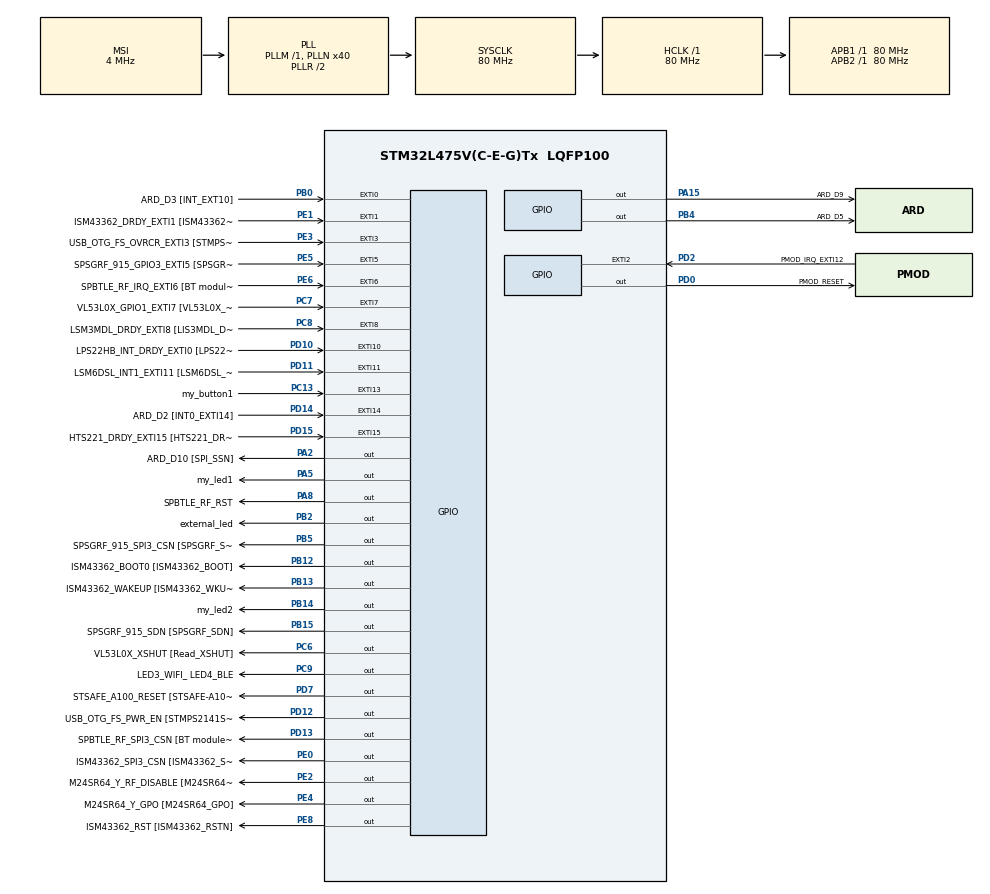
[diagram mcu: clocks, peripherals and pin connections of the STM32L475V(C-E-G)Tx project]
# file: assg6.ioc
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Mcu.Family=STM32L4
Mcu.Name=STM32L475V(C-E-G)Tx
Mcu.Package=LQFP100
NVIC.EXTI15_10_IRQn=true\:0\:0\:false\:false\:true\:true\:true
NVIC.EXTI9_5_IRQn=true\:0\:0\:false\:false\:true\:true\:true
NVIC.PriorityGroup=NVIC_PRIORITYGROUP_4
NVIC.TIM2_IRQn=true\:0\:0\:false\:false\:true\:true\:true
NVIC.TIM3_IRQn=true\:0\:0\:false\:false\:true\:true\:true
PA0.GPIO_Label=ARD_D1 [UART4_TX]
PA0.Signal=UART4_TX
PA1.GPIO_Label=ARD_D0 [UART4_RX]
PA1.Signal=UART4_RX
PA10.GPIO_Label=USB_OTG_FS_ID
PA10.Signal=USB_OTG_FS_ID
PA11.GPIO_Label=USB_OTG_FS_DM
PA11.Signal=USB_OTG_FS_DM
PA12.GPIO_Label=USB_OTG_FS_DP
PA12.Signal=USB_OTG_FS_DP
PA13\ (JTMS-SWDIO).GPIO_Label=SYS_JTMS_SWDIO
PA13\ (JTMS-SWDIO).Signal=SYS_JTMS-SWDIO
PA14\ (JTCK-SWCLK).GPIO_Label=SYS_JTCK_SWCLK
PA14\ (JTCK-SWCLK).Signal=SYS_JTCK-SWCLK
PA15\ (JTDI).GPIO_Label=ARD_D9
PA15\ (JTDI).Signal=GPIO_Output
PA2.GPIO_Label=ARD_D10 [SPI_SSN]
PA2.Signal=GPIO_Output
PA3.GPIO_Label=ARD_D4
PA3.Signal=S_TIM2_CH4
PA4.GPIO_Label=ARD_D7
PA4.Signal=ADCx_IN9
PA5.GPIO_Label=my_led1
PA5.Signal=GPIO_Output
PA6.GPIO_Label=ARD_D12 [SPI1_MISO]
PA6.Signal=SPI1_MISO
PA7.GPIO_Label=ARD_D11 [SPI1_MOSI]
PA7.Signal=SPI1_MOSI
PA8.GPIO_Label=SPBTLE_RF_RST
PA8.Signal=GPIO_Output
PA9.GPIO_Label=USB_OTG_FS_VBUS [STMPS2141STR_OUT]
PA9.Signal=USB_OTG_FS_VBUS
PB0.GPIO_Label=ARD_D3 [INT_EXT10]
PB0.Signal=GPXTI0
PB1.GPIO_Label=ARD_D6 [ADC1_IN6]
PB1.Signal=ADCx_IN16
PB10.GPIO_Label=INTERNAL_I2C2_SCL [VL53L0X_SCL]
PB10.Signal=I2C2_SCL
PB11.GPIO_Label=INTERNAL_I2C2_SDA [VL53L0X_SDA]
PB11.Signal=I2C2_SDA
PB12.GPIO_Label=ISM43362_BOOT0 [ISM43362_BOOT]
PB12.Signal=GPIO_Output
PB13.GPIO_Label=ISM43362_WAKEUP [ISM43362_WKUP]
PB13.Signal=GPIO_Output
PB14.GPIO_Label=my_led2
PB14.Signal=GPIO_Output
PB15.GPIO_Label=SPSGRF_915_SDN [SPSGRF_SDN]
PB15.Signal=GPIO_Output
PB2.GPIO_Label=external_led
PB2.Signal=GPIO_Output
PB3\ (JTDO-TRACESWO).GPIO_Label=SYS_JTD0_SWO
PB3\ (JTDO-TRACESWO).Signal=SYS_JTDO-SWO
PB4\ (NJTRST).GPIO_Label=ARD_D5
PB4\ (NJTRST).Signal=GPIO_Output
PB5.GPIO_Label=SPSGRF_915_SPI3_CSN [SPSGRF_SPI_CS]
PB5.PinState=GPIO_PIN_SET
PB5.Signal=GPIO_Output
PB6.GPIO_Label=ST_LINK_UART1_TX
PB6.Signal=USART1_TX
PB7.GPIO_Label=ST_LINK_UART1_RX
PB7.Signal=USART1_RX
PB8.GPIO_Label=ARD_D15 [I2C1_SCL]
PB8.Signal=I2C1_SCL
PB9.GPIO_Label=ARD_D14 [I2C1_SDA]
PB9.Signal=I2C1_SDA
PC0.GPIO_Label=ARD_A5 [ADC]
PC0.Signal=ADCx_IN1
PC1.GPIO_Label=ARD_A4 [ADC]
PC1.Signal=ADCx_IN2
PC10.GPIO_Label=INTERNAL_SPI3_SCK [BT module_SPI_SCLK] [ISM43362_SCK]
PC10.Signal=SPI3_SCK
PC11.GPIO_Label=INTERNAL_SPI3_MISO [BT module_SPI_MISO] [ISM43362_MISO]
PC11.Signal=SPI3_MISO
PC12.GPIO_Label=INTERNAL_SPI3_MOSI [BT module_SPI_MOSI] [ISM43362_MOSI]
PC12.Signal=SPI3_MOSI
PC13.GPIO_Label=my_button1
PC13.GPIO_ModeDefaultEXTI=GPIO_MODE_IT_FALLING
PC13.Signal=GPXTI13
PC14-OSC32_IN\ (PC14).Signal=RCC_OSC32_IN
PC15-OSC32_OUT\ (PC15).Signal=RCC_OSC32_OUT
PC2.GPIO_Label=ARD_A3 [ADC]
PC2.Signal=ADCx_IN3
PC3.GPIO_Label=ARD_A2 [ADC]
PC3.Signal=ADCx_IN4
PC4.GPIO_Label=ARD_A1 [ADC]
PC4.Signal=ADCx_IN13
PC5.GPIO_Label=ARD_A0 [ADC]
PC5.Signal=ADCx_IN14
PC6.GPIO_Label=VL53L0X_XSHUT [Read_XSHUT]
PC6.Signal=GPIO_Output
PC7.GPIO_Label=VL53L0X_GPIO1_EXTI7 [VL53L0X_GPIO1]
PC7.Signal=GPXTI7
PC8.GPIO_Label=LSM3MDL_DRDY_EXTI8 [LIS3MDL_DRDY]
PC8.Signal=GPXTI8
PC9.GPIO_Label=LED3_WIFI_ LED4_BLE
PC9.Signal=GPIO_Output
PD0.GPIO_Label=PMOD_RESET
PD0.Signal=GPIO_Output
PD1.GPIO_Label=PMOD_SPI2_SCK
PD1.Signal=SPI2_SCK
PD10.GPIO_Label=LPS22HB_INT_DRDY_EXTI0 [LPS22HB_INT_DRDY] 
PD10.Signal=GPXTI10
PD11.GPIO_Label=LSM6DSL_INT1_EXTI11 [LSM6DSL_INT1]
PD11.Signal=GPXTI11
PD12.GPIO_Label=USB_OTG_FS_PWR_EN [STMPS2141STR_EN]
PD12.Signal=GPIO_Output
PD13.GPIO_Label=SPBTLE_RF_SPI3_CSN [BT module_SPI_CS]
PD13.PinState=GPIO_PIN_SET
PD13.Signal=GPIO_Output
PD14.GPIO_Label=ARD_D2 [INT0_EXTI14]
PD14.Signal=GPXTI14
PD15.GPIO_Label=HTS221_DRDY_EXTI15 [HTS221_DRDY]
PD15.Signal=GPXTI15
PD2.GPIO_Label=PMOD_IRQ_EXTI12
PD2.Signal=GPXTI2
PD3.GPIO_Label=PMOD_UART2_CTS
PD3.Signal=USART2_CTS
PD4.GPIO_Label=PMOD_UART2_RTS
PD4.Signal=USART2_RTS
PD5.GPIO_Label=PMOD_UART2_TX
PD5.Signal=USART2_TX
PD6.GPIO_Label=PMOD_UART2_RX
PD6.Signal=USART2_RX
PD7.GPIO_Label=STSAFE_A100_RESET [STSAFE-A100_RESET]
PD7.Signal=GPIO_Output
PD8.GPIO_Label=INTERNAL_UART3_TX [ISM43362_RX]
PD8.Signal=USART3_TX
PD9.GPIO_Label=INTERNAL_UART3_RX [ISM43362_TX]
PD9.Signal=USART3_RX
PE0.GPIO_Label=ISM43362_SPI3_CSN [ISM43362_SSN]
PE0.PinState=GPIO_PIN_SET
PE0.Signal=GPIO_Output
PE1.GPIO_Label=ISM43362_DRDY_EXTI1 [ISM43362_DATARDY]
PE1.Signal=GPXTI1
PE10.GPIO_Label=QUADSPI_CLK [MX25R6435F_SCLK]
PE10.Signal=QUADSPI_CLK
PE11.GPIO_Label=QUADSPI_NCS [MX25R6435F_SCLK]
PE11.Signal=QUADSPI_NCS
PE12.GPIO_Label=OQUADSPI_BK1_IO0 [MX25R6435F_IO0]
PE12.Signal=QUADSPI_BK1_IO0
PE13.GPIO_Label=QUADSPI_BK1_IO1 [MX25R6435F_IO1]
PE13.Signal=QUADSPI_BK1_IO1
PE14.GPIO_Label=QUAD_SPI_BK1_IO2 [MX25R6435F_IO2]
PE14.Signal=QUADSPI_BK1_IO2
PE15.GPIO_Label=QUAD_SPI_BK1_IO3 [MX25R6435F_IO3]
PE15.Signal=QUADSPI_BK1_IO3
PE2.GPIO_Label=M24SR64_Y_RF_DISABLE [M24SR64_RFDIS]
PE2.Signal=GPIO_Output
PE3.GPIO_Label=USB_OTG_FS_OVRCR_EXTI3 [STMPS2141STR_FAULT]
PE3.Signal=GPXTI3
PE4.GPIO_Label=M24SR64_Y_GPO [M24SR64_GPO]
PE4.Signal=GPIO_Output
PE5.GPIO_Label=SPSGRF_915_GPIO3_EXTI5 [SPSGRF_GPIO_3]
PE5.Signal=GPXTI5
PE6.GPIO_Label=SPBTLE_RF_IRQ_EXTI6 [BT module_SPI_IRQ]
PE6.Signal=GPXTI6
PE7.GPIO_Label=DFSDM1_DATIN2 [MP34DT01_DOUT]
PE7.Signal=S_DATAIN2DFSDM1
PE8.GPIO_Label=ISM43362_RST [ISM43362_RSTN]
PE8.Signal=GPIO_Output
PE9.GPIO_Label=DFSDM1_CKOUT [MP34DT01_CLK]
PE9.Signal=S_CKOUTDFSDM1
ProjectManager.HeapSize=0x200
ProjectManager.StackSize=0x400
ProjectManager.TargetToolchain=STM32CubeIDE
RCC.ADCFreq_Value=48000000
RCC.AHBFreq_Value=80000000
RCC.APB1Freq_Value=80000000
RCC.APB1TimFreq_Value=80000000
RCC.APB2Freq_Value=80000000
RCC.APB2TimFreq_Value=80000000
RCC.CortexFreq_Value=80000000
RCC.HCLKFreq_Value=80000000
RCC.HSE_VALUE=8000000
RCC.HSI_VALUE=16000000
RCC.LSE_VALUE=32768
RCC.MSI_VALUE=4000000
RCC.PLLN=40
RCC.PLLSAI1N=24
RCC.SYSCLKFreq_VALUE=80000000
RCC.SYSCLKSource=RCC_SYSCLKSOURCE_PLLCLK
RCC.USBFreq_Value=48000000
RCC.VCOOutputFreq_Value=160000000
SH.ADCx_IN1.0=ADC1_IN1
SH.ADCx_IN13.0=ADC1_IN13
SH.ADCx_IN14.0=ADC1_IN14
SH.ADCx_IN16.0=ADC1_IN16
SH.ADCx_IN2.0=ADC1_IN2
SH.ADCx_IN3.0=ADC1_IN3
SH.ADCx_IN4.0=ADC1_IN4
SH.ADCx_IN9.0=ADC1_IN9
SH.S_CKOUTDFSDM1.0=DFSDM1_CKOUT
SH.S_DATAIN2DFSDM1.0=DFSDM1_DATIN2
SH.S_TIM2_CH4.0=TIM2_CH4
TIM2.Period=1000
TIM2.Prescaler=32000
TIM3.Period=500
TIM3.Prescaler=32000
VP_TIM2_VS_ClockSourceINT.Mode=Internal
VP_TIM3_VS_ClockSourceINT.Mode=Internal
board=B-L475E-IOT01A1

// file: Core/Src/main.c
/* USER CODE BEGIN Header */
/**
  ******************************************************************************
  * @file           : main.c
  * @brief          : Main program body
  ******************************************************************************
  * @attention
  *
  * <h2><center>&copy; Copyright (c) 2023 STMicroelectronics.
  * All rights reserved.</center></h2>
  *
  * This software component is licensed by ST under BSD 3-Clause license,
  * the "License"; You may not use this file except in compliance with the
  * License. You may obtain a copy of the License at:
  *                        opensource.org/licenses/BSD-3-Clause
  *
  ******************************************************************************
  */
/* USER CODE END Header */
#include "main.h"

/* USER CODE BEGIN Includes */
#include <stdio.h>
/* USER CODE END Includes */

TIM_HandleTypeDef htim2;
TIM_HandleTypeDef htim3;

void SystemClock_Config(void);
static void MX_GPIO_Init(void);
static void MX_TIM2_Init(void);
static void MX_TIM3_Init(void);

int main(void)
{

  /* MCU Configuration--------------------------------------------------------*/

  /* Reset of all peripherals, Initializes the Flash interface and the Systick. */
  HAL_Init();

  /* Configure the system clock */
  SystemClock_Config();

  /* Initialize all configured peripherals */
  MX_GPIO_Init();
  MX_TIM2_Init();
  MX_TIM3_Init();
  /* USER CODE BEGIN 2 */
  HAL_TIM_Base_Start_IT(&htim2);
  HAL_TIM_Base_Start_IT(&htim3);
  /* USER CODE END 2 */

  /* Infinite loop */
  /* USER CODE BEGIN WHILE */
  while (1)
  {
	  printf("main function\n");
	  HAL_Delay(100);
    /* USER CODE END WHILE */

  }
}

void SystemClock_Config(void)
{
  RCC_OscInitTypeDef RCC_OscInitStruct = {0};
  RCC_ClkInitTypeDef RCC_ClkInitStruct = {0};

  /** Configure the main internal regulator output voltage
  */
  if (HAL_PWREx_ControlVoltageScaling(PWR_REGULATOR_VOLTAGE_SCALE1) != HAL_OK)
  {
    Error_Handler();
  }
  /** Initializes the RCC Oscillators according to the specified parameters
  * in the RCC_OscInitTypeDef structure.
  */
  RCC_OscInitStruct.OscillatorType = RCC_OSCILLATORTYPE_MSI;
  RCC_OscInitStruct.MSIState = RCC_MSI_ON;
  RCC_OscInitStruct.MSICalibrationValue = 0;
  RCC_OscInitStruct.MSIClockRange = RCC_MSIRANGE_6;
  RCC_OscInitStruct.PLL.PLLState = RCC_PLL_ON;
  RCC_OscInitStruct.PLL.PLLSource = RCC_PLLSOURCE_MSI;
  RCC_OscInitStruct.PLL.PLLM = 1;
  RCC_OscInitStruct.PLL.PLLN = 40;
  RCC_OscInitStruct.PLL.PLLP = RCC_PLLP_DIV7;
  RCC_OscInitStruct.PLL.PLLQ = RCC_PLLQ_DIV2;
  RCC_OscInitStruct.PLL.PLLR = RCC_PLLR_DIV2;
  if (HAL_RCC_OscConfig(&RCC_OscInitStruct) != HAL_OK)
  {
    Error_Handler();
  }
  /** Initializes the CPU, AHB and APB buses clocks
  */
  RCC_ClkInitStruct.ClockType = RCC_CLOCKTYPE_HCLK|RCC_CLOCKTYPE_SYSCLK
                              |RCC_CLOCKTYPE_PCLK1|RCC_CLOCKTYPE_PCLK2;
  RCC_ClkInitStruct.SYSCLKSource = RCC_SYSCLKSOURCE_PLLCLK;
  RCC_ClkInitStruct.AHBCLKDivider = RCC_SYSCLK_DIV1;
  RCC_ClkInitStruct.APB1CLKDivider = RCC_HCLK_DIV1;
  RCC_ClkInitStruct.APB2CLKDivider = RCC_HCLK_DIV1;

  if (HAL_RCC_ClockConfig(&RCC_ClkInitStruct, FLASH_LATENCY_4) != HAL_OK)
  {
    Error_Handler();
  }
}

static void MX_TIM2_Init(void)
{

  TIM_ClockConfigTypeDef sClockSourceConfig = {0};
  TIM_MasterConfigTypeDef sMasterConfig = {0};

  htim2.Instance = TIM2;
  htim2.Init.Prescaler = 32000;
  htim2.Init.CounterMode = TIM_COUNTERMODE_UP;
  htim2.Init.Period = 1000;
  htim2.Init.ClockDivision = TIM_CLOCKDIVISION_DIV1;
  htim2.Init.AutoReloadPreload = TIM_AUTORELOAD_PRELOAD_DISABLE;
  if (HAL_TIM_Base_Init(&htim2) != HAL_OK)
  {
    Error_Handler();
  }
  sClockSourceConfig.ClockSource = TIM_CLOCKSOURCE_INTERNAL;
  if (HAL_TIM_ConfigClockSource(&htim2, &sClockSourceConfig) != HAL_OK)
  {
    Error_Handler();
  }
  sMasterConfig.MasterOutputTrigger = TIM_TRGO_RESET;
  sMasterConfig.MasterSlaveMode = TIM_MASTERSLAVEMODE_DISABLE;
  if (HAL_TIMEx_MasterConfigSynchronization(&htim2, &sMasterConfig) != HAL_OK)
  {
    Error_Handler();
  }

}

static void MX_TIM3_Init(void)
{

  TIM_ClockConfigTypeDef sClockSourceConfig = {0};
  TIM_MasterConfigTypeDef sMasterConfig = {0};

  htim3.Instance = TIM3;
  htim3.Init.Prescaler = 32000;
  htim3.Init.CounterMode = TIM_COUNTERMODE_UP;
  htim3.Init.Period = 500;
  htim3.Init.ClockDivision = TIM_CLOCKDIVISION_DIV1;
  htim3.Init.AutoReloadPreload = TIM_AUTORELOAD_PRELOAD_DISABLE;
  if (HAL_TIM_Base_Init(&htim3) != HAL_OK)
  {
    Error_Handler();
  }
  sClockSourceConfig.ClockSource = TIM_CLOCKSOURCE_INTERNAL;
  if (HAL_TIM_ConfigClockSource(&htim3, &sClockSourceConfig) != HAL_OK)
  {
    Error_Handler();
  }
  sMasterConfig.MasterOutputTrigger = TIM_TRGO_RESET;
  sMasterConfig.MasterSlaveMode = TIM_MASTERSLAVEMODE_DISABLE;
  if (HAL_TIMEx_MasterConfigSynchronization(&htim3, &sMasterConfig) != HAL_OK)
  {
    Error_Handler();
  }

}

static void MX_GPIO_Init(void)
{
  GPIO_InitTypeDef GPIO_InitStruct = {0};

  /* GPIO Ports Clock Enable */
  __HAL_RCC_GPIOE_CLK_ENABLE();
  __HAL_RCC_GPIOC_CLK_ENABLE();
  __HAL_RCC_GPIOA_CLK_ENABLE();
  __HAL_RCC_GPIOB_CLK_ENABLE();
  __HAL_RCC_GPIOD_CLK_ENABLE();

  /*Configure GPIO pin Output Level */
  HAL_GPIO_WritePin(GPIOE, M24SR64_Y_RF_DISABLE_Pin|M24SR64_Y_GPO_Pin|ISM43362_RST_Pin, GPIO_PIN_RESET);

  /*Configure GPIO pin Output Level */
  HAL_GPIO_WritePin(GPIOA, ARD_D10_Pin|my_led1_Pin|SPBTLE_RF_RST_Pin|ARD_D9_Pin, GPIO_PIN_RESET);

  /*Configure GPIO pin Output Level */
  HAL_GPIO_WritePin(GPIOB, external_led_Pin|ISM43362_BOOT0_Pin|ISM43362_WAKEUP_Pin|my_led2_Pin
                          |SPSGRF_915_SDN_Pin|ARD_D5_Pin, GPIO_PIN_RESET);

  /*Configure GPIO pin Output Level */
  HAL_GPIO_WritePin(GPIOD, USB_OTG_FS_PWR_EN_Pin|PMOD_RESET_Pin|STSAFE_A100_RESET_Pin, GPIO_PIN_RESET);

  /*Configure GPIO pin Output Level */
  HAL_GPIO_WritePin(SPBTLE_RF_SPI3_CSN_GPIO_Port, SPBTLE_RF_SPI3_CSN_Pin, GPIO_PIN_SET);

  /*Configure GPIO pin Output Level */
  HAL_GPIO_WritePin(GPIOC, VL53L0X_XSHUT_Pin|LED3_WIFI__LED4_BLE_Pin, GPIO_PIN_RESET);

  /*Configure GPIO pin Output Level */
  HAL_GPIO_WritePin(SPSGRF_915_SPI3_CSN_GPIO_Port, SPSGRF_915_SPI3_CSN_Pin, GPIO_PIN_SET);

  /*Configure GPIO pin Output Level */
  HAL_GPIO_WritePin(ISM43362_SPI3_CSN_GPIO_Port, ISM43362_SPI3_CSN_Pin, GPIO_PIN_SET);

  /*Configure GPIO pins : M24SR64_Y_RF_DISABLE_Pin M24SR64_Y_GPO_Pin ISM43362_RST_Pin ISM43362_SPI3_CSN_Pin */
  GPIO_InitStruct.Pin = M24SR64_Y_RF_DISABLE_Pin|M24SR64_Y_GPO_Pin|ISM43362_RST_Pin|ISM43362_SPI3_CSN_Pin;
  GPIO_InitStruct.Mode = GPIO_MODE_OUTPUT_PP;
  GPIO_InitStruct.Pull = GPIO_NOPULL;
  GPIO_InitStruct.Speed = GPIO_SPEED_FREQ_LOW;
  HAL_GPIO_Init(GPIOE, &GPIO_InitStruct);

  /*Configure GPIO pins : USB_OTG_FS_OVRCR_EXTI3_Pin SPSGRF_915_GPIO3_EXTI5_Pin SPBTLE_RF_IRQ_EXTI6_Pin ISM43362_DRDY_EXTI1_Pin */
  GPIO_InitStruct.Pin = USB_OTG_FS_OVRCR_EXTI3_Pin|SPSGRF_915_GPIO3_EXTI5_Pin|SPBTLE_RF_IRQ_EXTI6_Pin|ISM43362_DRDY_EXTI1_Pin;
  GPIO_InitStruct.Mode = GPIO_MODE_IT_RISING;
  GPIO_InitStruct.Pull = GPIO_NOPULL;
  HAL_GPIO_Init(GPIOE, &GPIO_InitStruct);

  /*Configure GPIO pin : my_button1_Pin */
  GPIO_InitStruct.Pin = my_button1_Pin;
  GPIO_InitStruct.Mode = GPIO_MODE_IT_FALLING;
  GPIO_InitStruct.Pull = GPIO_NOPULL;
  HAL_GPIO_Init(my_button1_GPIO_Port, &GPIO_InitStruct);

  /*Configure GPIO pins : ARD_A5_Pin ARD_A4_Pin ARD_A3_Pin ARD_A2_Pin
                           ARD_A1_Pin ARD_A0_Pin */
  GPIO_InitStruct.Pin = ARD_A5_Pin|ARD_A4_Pin|ARD_A3_Pin|ARD_A2_Pin
                          |ARD_A1_Pin|ARD_A0_Pin;
  GPIO_InitStruct.Mode = GPIO_MODE_ANALOG_ADC_CONTROL;
  GPIO_InitStruct.Pull = GPIO_NOPULL;
  HAL_GPIO_Init(GPIOC, &GPIO_InitStruct);

  /*Configure GPIO pins : ARD_D1_Pin ARD_D0_Pin */
  GPIO_InitStruct.Pin = ARD_D1_Pin|ARD_D0_Pin;
  GPIO_InitStruct.Mode = GPIO_MODE_AF_PP;
  GPIO_InitStruct.Pull = GPIO_NOPULL;
  GPIO_InitStruct.Speed = GPIO_SPEED_FREQ_VERY_HIGH;
  GPIO_InitStruct.Alternate = GPIO_AF8_UART4;
  HAL_GPIO_Init(GPIOA, &GPIO_InitStruct);

  /*Configure GPIO pins : ARD_D10_Pin my_led1_Pin SPBTLE_RF_RST_Pin ARD_D9_Pin */
  GPIO_InitStruct.Pin = ARD_D10_Pin|my_led1_Pin|SPBTLE_RF_RST_Pin|ARD_D9_Pin;
  GPIO_InitStruct.Mode = GPIO_MODE_OUTPUT_PP;
  GPIO_InitStruct.Pull = GPIO_NOPULL;
  GPIO_InitStruct.Speed = GPIO_SPEED_FREQ_LOW;
  HAL_GPIO_Init(GPIOA, &GPIO_InitStruct);

  /*Configure GPIO pin : ARD_D7_Pin */
  GPIO_InitStruct.Pin = ARD_D7_Pin;
  GPIO_InitStruct.Mode = GPIO_MODE_ANALOG_ADC_CONTROL;
  GPIO_InitStruct.Pull = GPIO_NOPULL;
  HAL_GPIO_Init(ARD_D7_GPIO_Port, &GPIO_InitStruct);

  /*Configure GPIO pins : ARD_D12_Pin ARD_D11_Pin */
  GPIO_InitStruct.Pin = ARD_D12_Pin|ARD_D11_Pin;
  GPIO_InitStruct.Mode = GPIO_MODE_AF_PP;
  GPIO_InitStruct.Pull = GPIO_NOPULL;
  GPIO_InitStruct.Speed = GPIO_SPEED_FREQ_VERY_HIGH;
  GPIO_InitStruct.Alternate = GPIO_AF5_SPI1;
  HAL_GPIO_Init(GPIOA, &GPIO_InitStruct);

  /*Configure GPIO pin : ARD_D3_Pin */
  GPIO_InitStruct.Pin = ARD_D3_Pin;
  GPIO_InitStruct.Mode = GPIO_MODE_IT_RISING;
  GPIO_InitStruct.Pull = GPIO_NOPULL;
  HAL_GPIO_Init(ARD_D3_GPIO_Port, &GPIO_InitStruct);

  /*Configure GPIO pin : ARD_D6_Pin */
  GPIO_InitStruct.Pin = ARD_D6_Pin;
  GPIO_InitStruct.Mode = GPIO_MODE_ANALOG_ADC_CONTROL;
  GPIO_InitStruct.Pull = GPIO_NOPULL;
  HAL_GPIO_Init(ARD_D6_GPIO_Port, &GPIO_InitStruct);

  /*Configure GPIO pins : external_led_Pin ISM43362_BOOT0_Pin ISM43362_WAKEUP_Pin my_led2_Pin
                           SPSGRF_915_SDN_Pin ARD_D5_Pin SPSGRF_915_SPI3_CSN_Pin */
  GPIO_InitStruct.Pin = external_led_Pin|ISM43362_BOOT0_Pin|ISM43362_WAKEUP_Pin|my_led2_Pin
                          |SPSGRF_915_SDN_Pin|ARD_D5_Pin|SPSGRF_915_SPI3_CSN_Pin;
  GPIO_InitStruct.Mode = GPIO_MODE_OUTPUT_PP;
  GPIO_InitStruct.Pull = GPIO_NOPULL;
  GPIO_InitStruct.Speed = GPIO_SPEED_FREQ_LOW;
  HAL_GPIO_Init(GPIOB, &GPIO_InitStruct);

  /*Configure GPIO pins : DFSDM1_DATIN2_Pin DFSDM1_CKOUT_Pin */
  GPIO_InitStruct.Pin = DFSDM1_DATIN2_Pin|DFSDM1_CKOUT_Pin;
  GPIO_InitStruct.Mode = GPIO_MODE_AF_PP;
  GPIO_InitStruct.Pull = GPIO_NOPULL;
  GPIO_InitStruct.Speed = GPIO_SPEED_FREQ_LOW;
  GPIO_InitStruct.Alternate = GPIO_AF6_DFSDM1;
  HAL_GPIO_Init(GPIOE, &GPIO_InitStruct);

  /*Configure GPIO pins : QUADSPI_CLK_Pin QUADSPI_NCS_Pin OQUADSPI_BK1_IO0_Pin QUADSPI_BK1_IO1_Pin
                           QUAD_SPI_BK1_IO2_Pin QUAD_SPI_BK1_IO3_Pin */
  GPIO_InitStruct.Pin = QUADSPI_CLK_Pin|QUADSPI_NCS_Pin|OQUADSPI_BK1_IO0_Pin|QUADSPI_BK1_IO1_Pin
                          |QUAD_SPI_BK1_IO2_Pin|QUAD_SPI_BK1_IO3_Pin;
  GPIO_InitStruct.Mode = GPIO_MODE_AF_PP;
  GPIO_InitStruct.Pull = GPIO_NOPULL;
  GPIO_InitStruct.Speed = GPIO_SPEED_FREQ_VERY_HIGH;
  GPIO_InitStruct.Alternate = GPIO_AF10_QUADSPI;
  HAL_GPIO_Init(GPIOE, &GPIO_InitStruct);

  /*Configure GPIO pins : INTERNAL_I2C2_SCL_Pin INTERNAL_I2C2_SDA_Pin */
  GPIO_InitStruct.Pin = INTERNAL_I2C2_SCL_Pin|INTERNAL_I2C2_SDA_Pin;
  GPIO_InitStruct.Mode = GPIO_MODE_AF_OD;
  GPIO_InitStruct.Pull = GPIO_NOPULL;
  GPIO_InitStruct.Speed = GPIO_SPEED_FREQ_VERY_HIGH;
  GPIO_InitStruct.Alternate = GPIO_AF4_I2C2;
  HAL_GPIO_Init(GPIOB, &GPIO_InitStruct);

  /*Configure GPIO pins : INTERNAL_UART3_TX_Pin INTERNAL_UART3_RX_Pin */
  GPIO_InitStruct.Pin = INTERNAL_UART3_TX_Pin|INTERNAL_UART3_RX_Pin;
  GPIO_InitStruct.Mode = GPIO_MODE_AF_PP;
  GPIO_InitStruct.Pull = GPIO_NOPULL;
  GPIO_InitStruct.Speed = GPIO_SPEED_FREQ_VERY_HIGH;
  GPIO_InitStruct.Alternate = GPIO_AF7_USART3;
  HAL_GPIO_Init(GPIOD, &GPIO_InitStruct);

  /*Configure GPIO pins : LPS22HB_INT_DRDY_EXTI0_Pin LSM6DSL_INT1_EXTI11_Pin ARD_D2_Pin HTS221_DRDY_EXTI15_Pin
                           PMOD_IRQ_EXTI12_Pin */
  GPIO_InitStruct.Pin = LPS22HB_INT_DRDY_EXTI0_Pin|LSM6DSL_INT1_EXTI11_Pin|ARD_D2_Pin|HTS221_DRDY_EXTI15_Pin
                          |PMOD_IRQ_EXTI12_Pin;
  GPIO_InitStruct.Mode = GPIO_MODE_IT_RISING;
  GPIO_InitStruct.Pull = GPIO_NOPULL;
  HAL_GPIO_Init(GPIOD, &GPIO_InitStruct);

  /*Configure GPIO pins : USB_OTG_FS_PWR_EN_Pin SPBTLE_RF_SPI3_CSN_Pin PMOD_RESET_Pin STSAFE_A100_RESET_Pin */
  GPIO_InitStruct.Pin = USB_OTG_FS_PWR_EN_Pin|SPBTLE_RF_SPI3_CSN_Pin|PMOD_RESET_Pin|STSAFE_A100_RESET_Pin;
  GPIO_InitStruct.Mode = GPIO_MODE_OUTPUT_PP;
  GPIO_InitStruct.Pull = GPIO_NOPULL;
  GPIO_InitStruct.Speed = GPIO_SPEED_FREQ_LOW;
  HAL_GPIO_Init(GPIOD, &GPIO_InitStruct);

  /*Configure GPIO pins : VL53L0X_XSHUT_Pin LED3_WIFI__LED4_BLE_Pin */
  GPIO_InitStruct.Pin = VL53L0X_XSHUT_Pin|LED3_WIFI__LED4_BLE_Pin;
  GPIO_InitStruct.Mode = GPIO_MODE_OUTPUT_PP;
  GPIO_InitStruct.Pull = GPIO_NOPULL;
  GPIO_InitStruct.Speed = GPIO_SPEED_FREQ_LOW;
  HAL_GPIO_Init(GPIOC, &GPIO_InitStruct);

  /*Configure GPIO pins : VL53L0X_GPIO1_EXTI7_Pin LSM3MDL_DRDY_EXTI8_Pin */
  GPIO_InitStruct.Pin = VL53L0X_GPIO1_EXTI7_Pin|LSM3MDL_DRDY_EXTI8_Pin;
  GPIO_InitStruct.Mode = GPIO_MODE_IT_RISING;
  GPIO_InitStruct.Pull = GPIO_NOPULL;
  HAL_GPIO_Init(GPIOC, &GPIO_InitStruct);

  /*Configure GPIO pin : USB_OTG_FS_VBUS_Pin */
  GPIO_InitStruct.Pin = USB_OTG_FS_VBUS_Pin;
  GPIO_InitStruct.Mode = GPIO_MODE_INPUT;
  GPIO_InitStruct.Pull = GPIO_NOPULL;
  HAL_GPIO_Init(USB_OTG_FS_VBUS_GPIO_Port, &GPIO_InitStruct);

  /*Configure GPIO pins : USB_OTG_FS_ID_Pin USB_OTG_FS_DM_Pin USB_OTG_FS_DP_Pin */
  GPIO_InitStruct.Pin = USB_OTG_FS_ID_Pin|USB_OTG_FS_DM_Pin|USB_OTG_FS_DP_Pin;
  GPIO_InitStruct.Mode = GPIO_MODE_AF_PP;
  GPIO_InitStruct.Pull = GPIO_NOPULL;
  GPIO_InitStruct.Speed = GPIO_SPEED_FREQ_VERY_HIGH;
  GPIO_InitStruct.Alternate = GPIO_AF10_OTG_FS;
  HAL_GPIO_Init(GPIOA, &GPIO_InitStruct);

  /*Configure GPIO pins : INTERNAL_SPI3_SCK_Pin INTERNAL_SPI3_MISO_Pin INTERNAL_SPI3_MOSI_Pin */
  GPIO_InitStruct.Pin = INTERNAL_SPI3_SCK_Pin|INTERNAL_SPI3_MISO_Pin|INTERNAL_SPI3_MOSI_Pin;
  GPIO_InitStruct.Mode = GPIO_MODE_AF_PP;
  GPIO_InitStruct.Pull = GPIO_NOPULL;
  GPIO_InitStruct.Speed = GPIO_SPEED_FREQ_VERY_HIGH;
  GPIO_InitStruct.Alternate = GPIO_AF6_SPI3;
  HAL_GPIO_Init(GPIOC, &GPIO_InitStruct);

  /*Configure GPIO pin : PMOD_SPI2_SCK_Pin */
  GPIO_InitStruct.Pin = PMOD_SPI2_SCK_Pin;
  GPIO_InitStruct.Mode = GPIO_MODE_AF_PP;
  GPIO_InitStruct.Pull = GPIO_NOPULL;
  GPIO_InitStruct.Speed = GPIO_SPEED_FREQ_VERY_HIGH;
  GPIO_InitStruct.Alternate = GPIO_AF5_SPI2;
  HAL_GPIO_Init(PMOD_SPI2_SCK_GPIO_Port, &GPIO_InitStruct);

  /*Configure GPIO pins : PMOD_UART2_CTS_Pin PMOD_UART2_RTS_Pin PMOD_UART2_TX_Pin PMOD_UART2_RX_Pin */
  GPIO_InitStruct.Pin = PMOD_UART2_CTS_Pin|PMOD_UART2_RTS_Pin|PMOD_UART2_TX_Pin|PMOD_UART2_RX_Pin;
  GPIO_InitStruct.Mode = GPIO_MODE_AF_PP;
  GPIO_InitStruct.Pull = GPIO_NOPULL;
  GPIO_InitStruct.Speed = GPIO_SPEED_FREQ_VERY_HIGH;
  GPIO_InitStruct.Alternate = GPIO_AF7_USART2;
  HAL_GPIO_Init(GPIOD, &GPIO_InitStruct);

  /*Configure GPIO pins : ST_LINK_UART1_TX_Pin ST_LINK_UART1_RX_Pin */
  GPIO_InitStruct.Pin = ST_LINK_UART1_TX_Pin|ST_LINK_UART1_RX_Pin;
  GPIO_InitStruct.Mode = GPIO_MODE_AF_PP;
  GPIO_InitStruct.Pull = GPIO_NOPULL;
  GPIO_InitStruct.Speed = GPIO_SPEED_FREQ_VERY_HIGH;
  GPIO_InitStruct.Alternate = GPIO_AF7_USART1;
  HAL_GPIO_Init(GPIOB, &GPIO_InitStruct);

  /*Configure GPIO pins : ARD_D15_Pin ARD_D14_Pin */
  GPIO_InitStruct.Pin = ARD_D15_Pin|ARD_D14_Pin;
  GPIO_InitStruct.Mode = GPIO_MODE_AF_OD;
  GPIO_InitStruct.Pull = GPIO_NOPULL;
  GPIO_InitStruct.Speed = GPIO_SPEED_FREQ_VERY_HIGH;
  GPIO_InitStruct.Alternate = GPIO_AF4_I2C1;
  HAL_GPIO_Init(GPIOB, &GPIO_InitStruct);

  /* EXTI interrupt init*/
  HAL_NVIC_SetPriority(EXTI9_5_IRQn, 0, 0);
  HAL_NVIC_EnableIRQ(EXTI9_5_IRQn);

  HAL_NVIC_SetPriority(EXTI15_10_IRQn, 0, 0);
  HAL_NVIC_EnableIRQ(EXTI15_10_IRQn);

}

/* USER CODE BEGIN 4 */
void HAL_GPIO_EXTI_Callback(uint16_t GPIO_Pin){

	if(GPIO_Pin == my_button1_Pin){
		HAL_GPIO_TogglePin(external_led_GPIO_Port, external_led_Pin);
		printf("Button pressed event!!\n");
	}
	else{
		__NOP();
	}
}
void HAL_TIM_PeriodElapsedCallback(TIM_HandleTypeDef *htim)
{
	if(htim == &htim2){
		HAL_GPIO_TogglePin(my_led2_GPIO_Port, my_led2_Pin);
		printf("Timer 2 interrupt!!\n");
	}
	if(htim == &htim3){
		HAL_GPIO_TogglePin(my_led1_GPIO_Port, my_led1_Pin);
		printf("Timer 3 interrupt!!\n");
	}
}
/* USER CODE END 4 */

void Error_Handler(void)
{
  __disable_irq();
  while (1)
  {
  }
}

/************************ (C) COPYRIGHT STMicroelectronics *****END OF FILE****/
